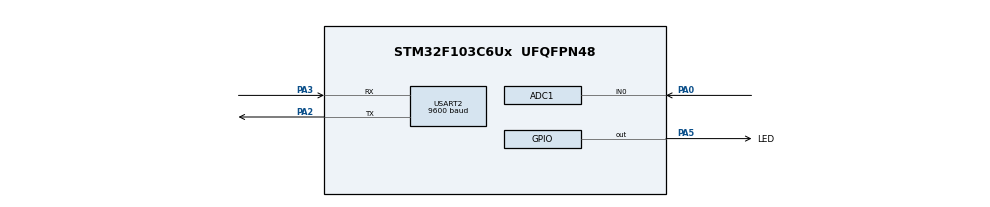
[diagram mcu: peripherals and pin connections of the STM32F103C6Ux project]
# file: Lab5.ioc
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ADC1.Channel-1\#ChannelRegularConversion=ADC_CHANNEL_0
ADC1.ContinuousConvMode=ENABLE
ADC1.NbrOfConversionFlag=1
ADC1.Rank-1\#ChannelRegularConversion=1
ADC1.SamplingTime-1\#ChannelRegularConversion=ADC_SAMPLETIME_1CYCLE_5
ADC1.master=1
Mcu.Family=STM32F1
Mcu.Name=STM32F103C6Ux
Mcu.Package=UFQFPN48
NVIC.PriorityGroup=NVIC_PRIORITYGROUP_4
NVIC.TIM2_IRQn=true\:0\:0\:false\:false\:true\:true\:true\:true
NVIC.USART2_IRQn=true\:0\:0\:false\:false\:true\:true\:true\:true
PA0-WKUP.Signal=ADCx_IN0
PA2.Mode=Asynchronous
PA2.Signal=USART2_TX
PA3.Mode=Asynchronous
PA3.Signal=USART2_RX
PA5.GPIO_Label=LED
PA5.Signal=GPIO_Output
ProjectManager.HeapSize=0x200
ProjectManager.StackSize=0x400
ProjectManager.TargetToolchain=STM32CubeIDE
RCC.APB1Freq_Value=8000000
RCC.APB2Freq_Value=8000000
SH.ADCx_IN0.0=ADC1_IN0,IN0
TIM2.Period=9
TIM2.Prescaler=7999
USART2.BaudRate=9600
USART2.VirtualMode=VM_ASYNC
VP_SYS_VS_ND.Mode=No_Debug
VP_TIM2_VS_ClockSourceINT.Mode=Internal
board=custom

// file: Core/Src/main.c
/* USER CODE BEGIN Header */
/**
  ******************************************************************************
  * @file           : main.c
  * @brief          : Main program body
  ******************************************************************************
  * @attention
  *
  * Copyright (c) 2022 STMicroelectronics.
  * All rights reserved.
  *
  * This software is licensed under terms that can be found in the LICENSE file
  * in the root directory of this software component.
  * If no LICENSE file comes with this software, it is provided AS-IS.
  *
  ******************************************************************************
  */
/* USER CODE END Header */
#include "main.h"

/* USER CODE BEGIN Includes */
#include "software_timer.h"
#include "fsm.h"
#include "global.h"
/* USER CODE END Includes */

ADC_HandleTypeDef hadc1;

TIM_HandleTypeDef htim2;

UART_HandleTypeDef huart2;

void SystemClock_Config(void);
static void MX_GPIO_Init(void);
static void MX_USART2_UART_Init(void);
static void MX_ADC1_Init(void);
static void MX_TIM2_Init(void);

/* USER CODE BEGIN 0 */
void HAL_UART_RxCpltCallback (UART_HandleTypeDef * huart){
	if( huart -> Instance == USART2 ) {
		//HAL_UART_Transmit (& huart2 , &temp , 1, 1000);
		buffer[index_buffer	++] = temp ;
		if( index_buffer == 30) index_buffer = 0;
		buffer_flag = 1;
		HAL_UART_Receive_IT (&huart2,&temp,1);
	}
}
/* USER CODE END 0 */

int main(void)
{

  /* MCU Configuration--------------------------------------------------------*/

  /* Reset of all peripherals, Initializes the Flash interface and the Systick. */
  HAL_Init();

  /* Configure the system clock */
  SystemClock_Config();

  /* Initialize all configured peripherals */
  MX_GPIO_Init();
  MX_USART2_UART_Init();
  MX_ADC1_Init();
  MX_TIM2_Init();
  /* USER CODE BEGIN 2 */
  HAL_UART_Receive_IT (&huart2,&temp,1);
  HAL_TIM_Base_Start_IT(&htim2);
  HAL_ADC_Start(&hadc1);
  /* USER CODE END 2 */

  /* Infinite loop */
  /* USER CODE BEGIN WHILE */
  setTimer1(1000);
  while (1)
  {
    /* USER CODE END WHILE */

    /* USER CODE BEGIN 3 */
	  if (timer1_flag == 1){
		  HAL_GPIO_TogglePin(LED_GPIO_Port, LED_Pin);
		  setTimer1(1000);
	  }
	  if( buffer_flag == 1) {
		  command_parser_fsm();
		  buffer_flag = 0;
	  }
	  uart_communiation_fsm(huart2,hadc1) ;

  }
  /* USER CODE END 3 */
}

void SystemClock_Config(void)
{
  RCC_OscInitTypeDef RCC_OscInitStruct = {0};
  RCC_ClkInitTypeDef RCC_ClkInitStruct = {0};
  RCC_PeriphCLKInitTypeDef PeriphClkInit = {0};

  /** Initializes the RCC Oscillators according to the specified parameters
  * in the RCC_OscInitTypeDef structure.
  */
  RCC_OscInitStruct.OscillatorType = RCC_OSCILLATORTYPE_HSI;
  RCC_OscInitStruct.HSIState = RCC_HSI_ON;
  RCC_OscInitStruct.HSICalibrationValue = RCC_HSICALIBRATION_DEFAULT;
  RCC_OscInitStruct.PLL.PLLState = RCC_PLL_NONE;
  if (HAL_RCC_OscConfig(&RCC_OscInitStruct) != HAL_OK)
  {
    Error_Handler();
  }

  /** Initializes the CPU, AHB and APB buses clocks
  */
  RCC_ClkInitStruct.ClockType = RCC_CLOCKTYPE_HCLK|RCC_CLOCKTYPE_SYSCLK
                              |RCC_CLOCKTYPE_PCLK1|RCC_CLOCKTYPE_PCLK2;
  RCC_ClkInitStruct.SYSCLKSource = RCC_SYSCLKSOURCE_HSI;
  RCC_ClkInitStruct.AHBCLKDivider = RCC_SYSCLK_DIV1;
  RCC_ClkInitStruct.APB1CLKDivider = RCC_HCLK_DIV1;
  RCC_ClkInitStruct.APB2CLKDivider = RCC_HCLK_DIV1;

  if (HAL_RCC_ClockConfig(&RCC_ClkInitStruct, FLASH_LATENCY_0) != HAL_OK)
  {
    Error_Handler();
  }
  PeriphClkInit.PeriphClockSelection = RCC_PERIPHCLK_ADC;
  PeriphClkInit.AdcClockSelection = RCC_ADCPCLK2_DIV2;
  if (HAL_RCCEx_PeriphCLKConfig(&PeriphClkInit) != HAL_OK)
  {
    Error_Handler();
  }
}

static void MX_ADC1_Init(void)
{

  ADC_ChannelConfTypeDef sConfig = {0};

  /** Common config
  */
  hadc1.Instance = ADC1;
  hadc1.Init.ScanConvMode = ADC_SCAN_DISABLE;
  hadc1.Init.ContinuousConvMode = ENABLE;
  hadc1.Init.DiscontinuousConvMode = DISABLE;
  hadc1.Init.ExternalTrigConv = ADC_SOFTWARE_START;
  hadc1.Init.DataAlign = ADC_DATAALIGN_RIGHT;
  hadc1.Init.NbrOfConversion = 1;
  if (HAL_ADC_Init(&hadc1) != HAL_OK)
  {
    Error_Handler();
  }

  /** Configure Regular Channel
  */
  sConfig.Channel = ADC_CHANNEL_0;
  sConfig.Rank = ADC_REGULAR_RANK_1;
  sConfig.SamplingTime = ADC_SAMPLETIME_1CYCLE_5;
  if (HAL_ADC_ConfigChannel(&hadc1, &sConfig) != HAL_OK)
  {
    Error_Handler();
  }

}

static void MX_TIM2_Init(void)
{

  TIM_ClockConfigTypeDef sClockSourceConfig = {0};
  TIM_MasterConfigTypeDef sMasterConfig = {0};

  htim2.Instance = TIM2;
  htim2.Init.Prescaler = 7999;
  htim2.Init.CounterMode = TIM_COUNTERMODE_UP;
  htim2.Init.Period = 9;
  htim2.Init.ClockDivision = TIM_CLOCKDIVISION_DIV1;
  htim2.Init.AutoReloadPreload = TIM_AUTORELOAD_PRELOAD_DISABLE;
  if (HAL_TIM_Base_Init(&htim2) != HAL_OK)
  {
    Error_Handler();
  }
  sClockSourceConfig.ClockSource = TIM_CLOCKSOURCE_INTERNAL;
  if (HAL_TIM_ConfigClockSource(&htim2, &sClockSourceConfig) != HAL_OK)
  {
    Error_Handler();
  }
  sMasterConfig.MasterOutputTrigger = TIM_TRGO_RESET;
  sMasterConfig.MasterSlaveMode = TIM_MASTERSLAVEMODE_DISABLE;
  if (HAL_TIMEx_MasterConfigSynchronization(&htim2, &sMasterConfig) != HAL_OK)
  {
    Error_Handler();
  }

}

static void MX_USART2_UART_Init(void)
{

  huart2.Instance = USART2;
  huart2.Init.BaudRate = 9600;
  huart2.Init.WordLength = UART_WORDLENGTH_8B;
  huart2.Init.StopBits = UART_STOPBITS_1;
  huart2.Init.Parity = UART_PARITY_NONE;
  huart2.Init.Mode = UART_MODE_TX_RX;
  huart2.Init.HwFlowCtl = UART_HWCONTROL_NONE;
  huart2.Init.OverSampling = UART_OVERSAMPLING_16;
  if (HAL_UART_Init(&huart2) != HAL_OK)
  {
    Error_Handler();
  }

}

static void MX_GPIO_Init(void)
{
  GPIO_InitTypeDef GPIO_InitStruct = {0};

  /* GPIO Ports Clock Enable */
  __HAL_RCC_GPIOA_CLK_ENABLE();

  /*Configure GPIO pin Output Level */
  HAL_GPIO_WritePin(LED_GPIO_Port, LED_Pin, GPIO_PIN_RESET);

  /*Configure GPIO pin : LED_Pin */
  GPIO_InitStruct.Pin = LED_Pin;
  GPIO_InitStruct.Mode = GPIO_MODE_OUTPUT_PP;
  GPIO_InitStruct.Pull = GPIO_NOPULL;
  GPIO_InitStruct.Speed = GPIO_SPEED_FREQ_LOW;
  HAL_GPIO_Init(LED_GPIO_Port, &GPIO_InitStruct);

}

/* USER CODE BEGIN 4 */
void HAL_TIM_PeriodElapsedCallback(TIM_HandleTypeDef*htim){
	TimerRun();
}

/* USER CODE END 4 */

void Error_Handler(void)
{
  __disable_irq();
  while (1)
  {
  }
}
